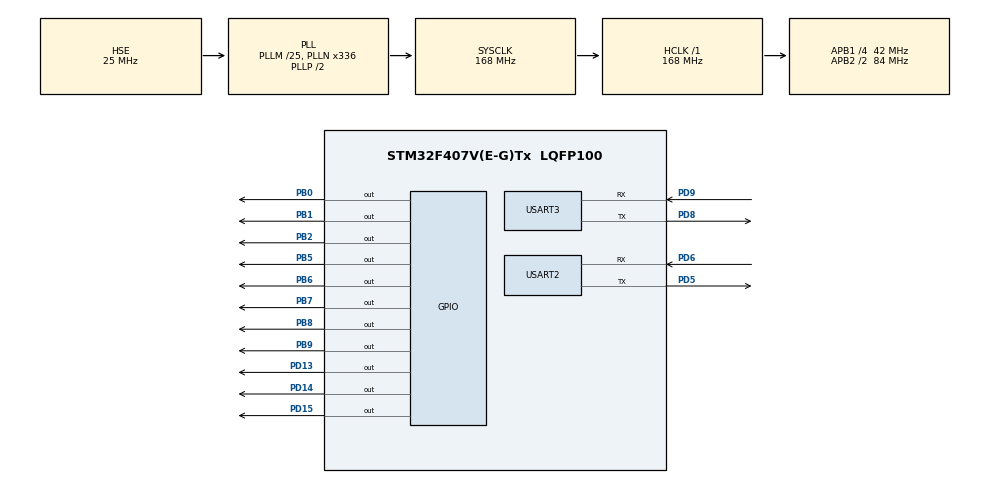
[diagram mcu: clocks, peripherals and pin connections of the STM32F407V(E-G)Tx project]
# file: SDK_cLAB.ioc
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Mcu.Family=STM32F4
NVIC.USART3_IRQn=true\:0\:0\:false\:false\:true\:true\:true
RCC.PLLSourceVirtual=RCC_PLLSOURCE_HSE
PH0-OSC_IN.Signal=RCC_OSC_IN
RCC.CortexFreq_Value=168000000
PD15.GPIO_Speed=GPIO_SPEED_FREQ_HIGH
VP_IWDG_VS_IWDG.Mode=IWDG_Activate
PD9.Signal=USART3_RX
PD5.Signal=USART2_TX
RCC.APB1CLKDivider=RCC_HCLK_DIV4
PD6.Mode=Asynchronous
PD9.Mode=Asynchronous
NVIC.USART2_IRQn=true\:0\:0\:false\:false\:true\:true\:true
RCC.SYSCLKSource=RCC_SYSCLKSOURCE_PLLCLK
ProjectManager.StackSize=0x400
PD13.Signal=GPIO_Output
PA13.Signal=SYS_JTMS-SWDIO
PD14.GPIO_Speed=GPIO_SPEED_FREQ_HIGH
ProjectManager.TargetToolchain=STM32CubeIDE
RCC.HCLKFreq_Value=168000000
RCC.APB2TimFreq_Value=168000000
PB6.Signal=GPIO_Output
PD8.Signal=USART3_TX
RCC.LSE_VALUE=32768
PD8.Mode=Asynchronous
RCC.AHBFreq_Value=168000000
PH0-OSC_IN.Mode=HSE-External-Oscillator
PD5.Mode=Asynchronous
RCC.HSE_VALUE=25000000
PD14.PinState=GPIO_PIN_RESET
PB2.Signal=GPIO_Output
PB3.Mode=JTAG_5_pins
board=custom
PD13.GPIO_Speed=GPIO_SPEED_FREQ_HIGH
RCC.VCOOutputFreq_Value=336000000
PA15.Mode=JTAG_5_pins
RCC.APB2Freq_Value=84000000
PB4.Mode=JTAG_5_pins
PA14.Mode=JTAG_5_pins
PH1-OSC_OUT.Signal=RCC_OSC_OUT
PB7.Signal=GPIO_Output
PA13.Mode=JTAG_5_pins
Mcu.Name=STM32F407V(E-G)Tx
PD14.Signal=GPIO_Output
PH1-OSC_OUT.Mode=HSE-External-Oscillator
RCC.48MHZClocksFreq_Value=84000000
PB3.Signal=SYS_JTDO-SWO
RCC.SYSCLKFreq_VALUE=168000000
Mcu.Package=LQFP100
PB5.Signal=GPIO_Output
PB9.Signal=GPIO_Output
PB1.Signal=GPIO_Output
USART2.VirtualMode=VM_ASYNC
USART3.VirtualMode=VM_ASYNC
PA14.Signal=SYS_JTCK-SWCLK
PA15.Signal=SYS_JTDI
ProjectManager.HeapSize=0x200
RCC.HSI_VALUE=16000000
NVIC.PriorityGroup=NVIC_PRIORITYGROUP_4
RCC.APB2CLKDivider=RCC_HCLK_DIV2
RCC.PLLM=25
RCC.PLLN=336
IWDG.Prescaler=IWDG_PRESCALER_64
RCC.APB1TimFreq_Value=84000000
PB8.Signal=GPIO_Output
PD13.PinState=GPIO_PIN_RESET
PD6.Signal=USART2_RX
RCC.APB1Freq_Value=42000000
PB0.Signal=GPIO_Output
PD15.Signal=GPIO_Output
PB4.Signal=SYS_JTRST

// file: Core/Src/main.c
/* USER CODE BEGIN Header */
/**
  ******************************************************************************
  * @file           : main.c
  * @brief          : Main program body
  ******************************************************************************
  * @attention
  *
  * <h2><center>&copy; Copyright (c) 2020 STMicroelectronics.
  * All rights reserved.</center></h2>
  *
  * This software component is licensed by ST under BSD 3-Clause license,
  * the "License"; You may not use this file except in compliance with the
  * License. You may obtain a copy of the License at:
  *                        opensource.org/licenses/BSD-3-Clause
  *
  ******************************************************************************
  */
/* USER CODE END Header */
#include "main.h"
#include "iwdg.h"
#include "usart.h"
#include "gpio.h"

/* USER CODE BEGIN Includes */
#include "trace.h"
/* USER CODE END Includes */

/* USER CODE BEGIN PV */
uint8_t x = 0; // X UART2
uint8_t y = 0; // Y UART2
uint8_t transmitBuffer2[2]; // for X, Y UART2
uint8_t receiveBuffer3[2]; // for X, Y UART3
uint8_t transmitBuffer3[1];	// for function result UART3
uint8_t receiveBuffer2[1]; // for function result UART2
uint8_t readed_value_x;	// X UART3
uint8_t readed_value_y; // Y UART3
uint8_t result;	// function result UART3
uint8_t readed_result;	// function result UART2
/* USER CODE END PV */

void SystemClock_Config(void);

int main(void)
{

  /* MCU Configuration--------------------------------------------------------*/

  /* Reset of all peripherals, Initializes the Flash interface and the Systick. */
  HAL_Init();

  /* Configure the system clock */
  SystemClock_Config();

  /* Initialize all configured peripherals */
  MX_GPIO_Init();
  MX_IWDG_Init();
  MX_USART2_UART_Init();
  MX_USART3_UART_Init();
  /* USER CODE BEGIN 2 */

  /* Do not remove this code below */
  MX_TRACE_Init();
  SDK_TRACE_Start();
  /* Do not remove this code from above */

  uint8_t value_x = 10; // set X
  uint8_t value_y = 11; // set Y
  // buffer for UART2 transmit
  transmitBuffer2[0] = value_x;
  transmitBuffer2[1] = value_y;
  // buffer for UART3 receive
  receiveBuffer3[0] = 0;
  receiveBuffer3[1] = 0;
  // buffer for UART2 receive
  receiveBuffer2[0] = 0;

  SDK_TRACE_Timestamp(P0, 1);

  SDK_TRACE_Print("Value X (UART2): %d", value_x);
  SDK_TRACE_Print("Value Y (UART2): %d", value_y);
  // Interrupt activations
  HAL_UART_Transmit_IT(&huart2, transmitBuffer2, 2);
  HAL_UART_Receive_IT(&huart3, receiveBuffer3, 2);
  HAL_Delay(1);

  SDK_TRACE_Timestamp(P0, 0);

  /* Place your code before here */
  /* Do not remove this code below */
  SDK_TRACE_Stop();
  /* Do not remove this code from above */

  /* USER CODE END 2 */

  /* Infinite loop */
  while (1)
  {

  }
}

void SystemClock_Config(void)
{
  RCC_OscInitTypeDef RCC_OscInitStruct = {0};
  RCC_ClkInitTypeDef RCC_ClkInitStruct = {0};

  /** Configure the main internal regulator output voltage
  */
  __HAL_RCC_PWR_CLK_ENABLE();
  __HAL_PWR_VOLTAGESCALING_CONFIG(PWR_REGULATOR_VOLTAGE_SCALE1);
  /** Initializes the RCC Oscillators according to the specified parameters
  * in the RCC_OscInitTypeDef structure.
  */
  RCC_OscInitStruct.OscillatorType = RCC_OSCILLATORTYPE_LSI|RCC_OSCILLATORTYPE_HSE;
  RCC_OscInitStruct.HSEState = RCC_HSE_ON;
  RCC_OscInitStruct.LSIState = RCC_LSI_ON;
  RCC_OscInitStruct.PLL.PLLState = RCC_PLL_ON;
  RCC_OscInitStruct.PLL.PLLSource = RCC_PLLSOURCE_HSE;
  RCC_OscInitStruct.PLL.PLLM = 25;
  RCC_OscInitStruct.PLL.PLLN = 336;
  RCC_OscInitStruct.PLL.PLLP = RCC_PLLP_DIV2;
  RCC_OscInitStruct.PLL.PLLQ = 4;
  if (HAL_RCC_OscConfig(&RCC_OscInitStruct) != HAL_OK)
  {
    Error_Handler();
  }
  /** Initializes the CPU, AHB and APB buses clocks
  */
  RCC_ClkInitStruct.ClockType = RCC_CLOCKTYPE_HCLK|RCC_CLOCKTYPE_SYSCLK
                              |RCC_CLOCKTYPE_PCLK1|RCC_CLOCKTYPE_PCLK2;
  RCC_ClkInitStruct.SYSCLKSource = RCC_SYSCLKSOURCE_PLLCLK;
  RCC_ClkInitStruct.AHBCLKDivider = RCC_SYSCLK_DIV1;
  RCC_ClkInitStruct.APB1CLKDivider = RCC_HCLK_DIV4;
  RCC_ClkInitStruct.APB2CLKDivider = RCC_HCLK_DIV2;

  if (HAL_RCC_ClockConfig(&RCC_ClkInitStruct, FLASH_LATENCY_5) != HAL_OK)
  {
    Error_Handler();
  }
}

/* USER CODE BEGIN 4 */

void HAL_UART_RxCpltCallback(UART_HandleTypeDef *huart)
{
          if(huart == &huart3)
          {
        	  lab3_Handler(&huart3);
          } else if (huart == &huart2)
          {
        	  lab3_Handler(&huart2);
          }
}

void lab3_Handler(UART_HandleTypeDef *huart)
{
	if (huart == &huart3)
	{
		 readed_value_x = receiveBuffer3[0];
		 readed_value_y = receiveBuffer3[1];
		 result = readed_value_x^readed_value_y;
		 SDK_TRACE_Print("Value X (UART3): %d", readed_value_x);
		 SDK_TRACE_Print("Value Y (UART3): %d", readed_value_y);
		 SDK_TRACE_Print("X XOR Y (UART3): %d", result);
		 transmitBuffer3[0] = result;
		 // our data is ready so we allow the reverse transfer
		 HAL_UART_Transmit_IT(&huart3, transmitBuffer3, 1);
		 HAL_UART_Receive_IT(&huart2, receiveBuffer2, 1);
	} else if (huart == &huart2)
	{
	 	 readed_result = receiveBuffer2[0];
		 SDK_TRACE_Print("X XOR Y (UART2): %d", readed_result);
	}
}
/* USER CODE END 4 */

void Error_Handler(void)
{
}

/************************ (C) COPYRIGHT STMicroelectronics *****END OF FILE****/
